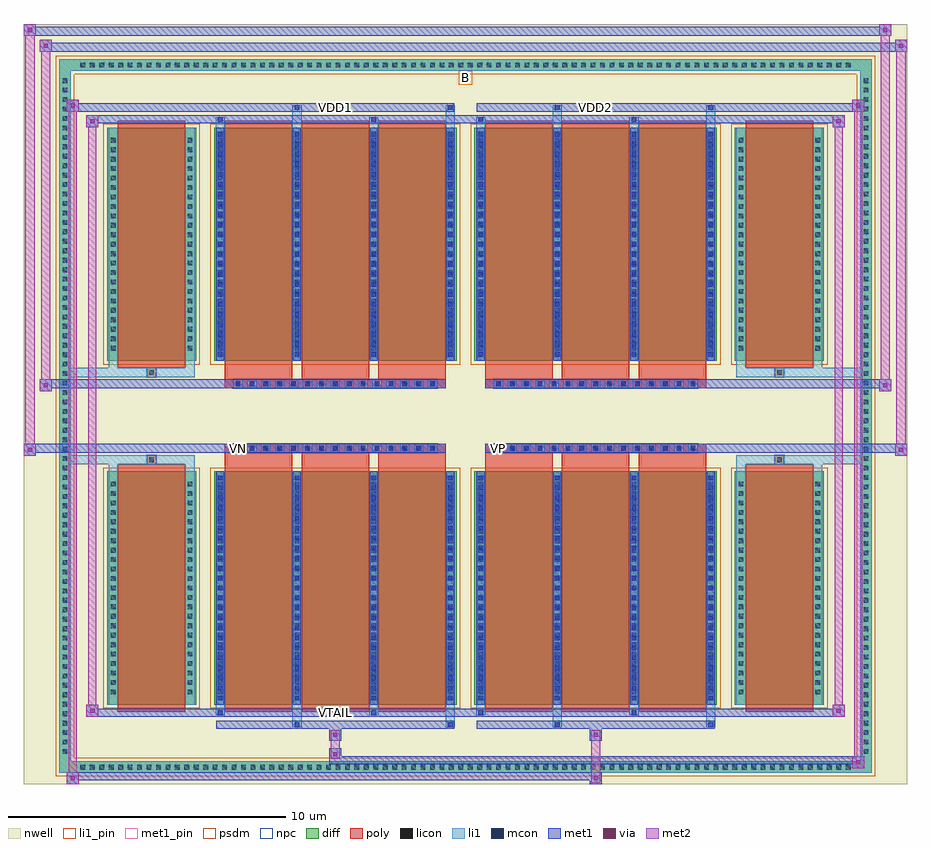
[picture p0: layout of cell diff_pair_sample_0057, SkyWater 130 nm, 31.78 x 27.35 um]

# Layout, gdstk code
import gdstk
lib = gdstk.Library(unit=1e-6, precision=5e-09)
def R(c, l, rs):  # rectangles x0, y0, x1, y1
    for r in rs: c.add(gdstk.rectangle(r[:2], r[2:], *l))
def A(c, l, x, y, w, h, nx, ny, dx, dy):  # array of equal rectangles
    R(c, l, [(x+i*dx, y+j*dy, x+i*dx+w, y+j*dy+h) for i in range(nx) for j in range(ny)])
def P(c, l, *ps):  # polygons
    for p in ps: c.add(gdstk.Polygon(p, *l))
nwell = (64, 20)
diff = (65, 20)
poly = (66, 20)
licon = (66, 44)
li1_pin = (67, 16)
li1 = (67, 20)
mcon = (67, 44)
met1_pin = (68, 16)
met1 = (68, 20)
via = (68, 44)
met2 = (69, 20)
psdm = (94, 20)
npc = (95, 20)

diff_pair_sample_0057 = lib.new_cell('diff_pair_sample_0057')
R(diff_pair_sample_0057, nwell, [(-15.89,-13.24,15.89,14.11), (-13.21,-11.43,-0.01,-0.795), (0.01,-11.43,13.21,-0.795), (-13.21,0.795,-0.01,11.43), (0.01,0.795,13.21,11.43)])
A(diff_pair_sample_0057, diff, -13.975, -12.84, 0.41, 0.41, 82, 2, 0.34, 25.27)
A(diff_pair_sample_0057, diff, -14.62, -12.275, 0.41, 0.41, 1, 72, 0, 0.34)
A(diff_pair_sample_0057, diff, 14.21, -12.275, 0.41, 0.41, 1, 72, 0, 0.34)
R(diff_pair_sample_0057, diff, [(-13.975,-12.84,13.975,-12.43), (-14.62,-12.275,-14.21,12.275), (14.21,-12.275,14.62,12.275), (-12.9,-10.385,-9.69,-1.985), (-9.05,-10.385,-0.32,-1.985), (0.32,-10.385,9.05,-1.985), (9.69,-10.385,12.9,-1.985), (-12.9,1.985,-9.69,10.385), (-9.05,1.985,-0.32,10.385), (0.32,1.985,9.05,10.385), (9.69,1.985,12.9,10.385), (-13.975,12.43,13.975,12.84)])
P(diff_pair_sample_0057, diff, [(14.62,12.84),(-14.62,12.84),(-14.62,-12.43),(-14.21,-12.43),(-14.21,12.43),(14.21,12.43),(14.21,-12.43),(-14.21,-12.43),(-14.62,-12.43),(-14.62,-12.84),(14.62,-12.84)])
A(diff_pair_sample_0057, poly, -8.66, -10.635, 2.43, 8.9, 3, 2, 2.76, 12.37)
A(diff_pair_sample_0057, poly, 0.71, -10.635, 2.43, 8.9, 3, 2, 2.76, 12.37)
A(diff_pair_sample_0057, poly, -8.66, -1.735, 2.43, 0.41, 3, 2, 2.76, 3.06)
A(diff_pair_sample_0057, poly, 0.71, -1.735, 2.43, 0.41, 3, 2, 2.76, 3.06)
A(diff_pair_sample_0057, poly, -8.35, -1.325, 0.33, 0.33, 15, 2, 0.5, 2.32)
A(diff_pair_sample_0057, poly, 1.02, -1.325, 0.33, 0.33, 15, 2, 0.5, 2.32)
R(diff_pair_sample_0057, poly, [(-12.51,-10.635,-10.08,-1.735), (10.08,-10.635,12.51,-1.735), (-11.46,-1.735,-11.13,-1.405), (-11.46,-1.735,-11.13,-1.405), (11.13,-1.735,11.46,-1.405), (11.13,-1.735,11.46,-1.405), (-8.66,-1.325,-0.71,-0.995), (0.71,-1.325,8.66,-0.995), (-8.66,0.995,-0.71,1.325), (0.71,0.995,8.66,1.325), (-11.46,1.405,-11.13,1.735), (-11.46,1.405,-11.13,1.735), (11.13,1.405,11.46,1.735), (11.13,1.405,11.46,1.735), (-12.51,1.735,-10.08,10.635), (10.08,1.735,12.51,10.635)])
A(diff_pair_sample_0057, licon, -13.855, -12.72, 0.17, 0.17, 82, 2, 0.34, 25.27)
A(diff_pair_sample_0057, licon, -14.5, -12.155, 0.17, 0.17, 1, 72, 0, 0.34)
A(diff_pair_sample_0057, licon, 14.33, -12.155, 0.17, 0.17, 1, 72, 0, 0.34)
A(diff_pair_sample_0057, licon, -12.76, -10.01, 0.17, 0.17, 1, 23, 0, 0.34)
A(diff_pair_sample_0057, licon, -10, -10.01, 0.17, 0.17, 1, 23, 0, 0.34)
A(diff_pair_sample_0057, licon, -8.91, -10.01, 0.17, 0.17, 4, 23, 2.76, 0.34)
A(diff_pair_sample_0057, licon, 0.46, -10.01, 0.17, 0.17, 4, 23, 2.76, 0.34)
A(diff_pair_sample_0057, licon, 9.83, -10.01, 0.17, 0.17, 1, 23, 0, 0.34)
A(diff_pair_sample_0057, licon, 12.59, -10.01, 0.17, 0.17, 1, 23, 0, 0.34)
A(diff_pair_sample_0057, licon, -8.27, -1.245, 0.17, 0.17, 15, 2, 0.5, 2.32)
A(diff_pair_sample_0057, licon, 1.1, -1.245, 0.17, 0.17, 15, 2, 0.5, 2.32)
A(diff_pair_sample_0057, licon, -12.76, 2.36, 0.17, 0.17, 1, 23, 0, 0.34)
A(diff_pair_sample_0057, licon, -10, 2.36, 0.17, 0.17, 1, 23, 0, 0.34)
A(diff_pair_sample_0057, licon, -8.91, 2.36, 0.17, 0.17, 4, 23, 2.76, 0.34)
A(diff_pair_sample_0057, licon, 0.46, 2.36, 0.17, 0.17, 4, 23, 2.76, 0.34)
A(diff_pair_sample_0057, licon, 9.83, 2.36, 0.17, 0.17, 1, 23, 0, 0.34)
A(diff_pair_sample_0057, licon, 12.59, 2.36, 0.17, 0.17, 1, 23, 0, 0.34)
R(diff_pair_sample_0057, licon, [(-11.38,-1.655,-11.21,-1.485), (11.21,-1.655,11.38,-1.485), (-11.38,1.485,-11.21,1.655), (11.21,1.485,11.38,1.655)])
R(diff_pair_sample_0057, li1_pin, [(-0.25,11.93,0.25,12.43)])
A(diff_pair_sample_0057, li1, -13.935, -12.8, 0.33, 0.33, 82, 2, 0.34, 25.27)
A(diff_pair_sample_0057, li1, -14.58, -12.235, 0.33, 0.33, 1, 72, 0, 0.34)
A(diff_pair_sample_0057, li1, 14.25, -12.235, 0.33, 0.33, 1, 72, 0, 0.34)
A(diff_pair_sample_0057, li1, -8.99, -10.385, 0.33, 8.4, 4, 2, 2.76, 12.37)
A(diff_pair_sample_0057, li1, 0.38, -10.385, 0.33, 8.4, 4, 2, 2.76, 12.37)
A(diff_pair_sample_0057, li1, -8.91, -10.23, 0.17, 0.17, 4, 23, 2.76, 0.36)
A(diff_pair_sample_0057, li1, -8.91, -10.23, 0.17, 8.09, 4, 2, 2.76, 12.37)
A(diff_pair_sample_0057, li1, 0.46, -10.23, 0.17, 0.17, 4, 23, 2.76, 0.36)
A(diff_pair_sample_0057, li1, 0.46, -10.23, 0.17, 8.09, 4, 2, 2.76, 12.37)
A(diff_pair_sample_0057, li1, -12.84, -10.09, 0.33, 0.33, 1, 23, 0, 0.34)
A(diff_pair_sample_0057, li1, -10.08, -10.09, 0.33, 0.33, 1, 23, 0, 0.34)
A(diff_pair_sample_0057, li1, -8.99, -10.09, 0.33, 0.33, 4, 23, 2.76, 0.34)
A(diff_pair_sample_0057, li1, 0.38, -10.09, 0.33, 0.33, 4, 23, 2.76, 0.34)
A(diff_pair_sample_0057, li1, 9.75, -10.09, 0.33, 0.33, 1, 23, 0, 0.34)
A(diff_pair_sample_0057, li1, 12.51, -10.09, 0.33, 0.33, 1, 23, 0, 0.34)
A(diff_pair_sample_0057, li1, -8.35, -1.325, 0.33, 0.33, 15, 2, 0.5, 2.32)
A(diff_pair_sample_0057, li1, 1.02, -1.325, 0.33, 0.33, 15, 2, 0.5, 2.32)
A(diff_pair_sample_0057, li1, -8.91, 2.14, 0.17, 0.17, 4, 23, 2.76, 0.36)
A(diff_pair_sample_0057, li1, 0.46, 2.14, 0.17, 0.17, 4, 23, 2.76, 0.36)
A(diff_pair_sample_0057, li1, -12.84, 2.28, 0.33, 0.33, 1, 23, 0, 0.34)
A(diff_pair_sample_0057, li1, -10.08, 2.28, 0.33, 0.33, 1, 23, 0, 0.34)
A(diff_pair_sample_0057, li1, -8.99, 2.28, 0.33, 0.33, 4, 23, 2.76, 0.34)
A(diff_pair_sample_0057, li1, 0.38, 2.28, 0.33, 0.33, 4, 23, 2.76, 0.34)
A(diff_pair_sample_0057, li1, 9.75, 2.28, 0.33, 0.33, 1, 23, 0, 0.34)
A(diff_pair_sample_0057, li1, 12.51, 2.28, 0.33, 0.33, 1, 23, 0, 0.34)
R(diff_pair_sample_0057, li1, [(-14.62,-12.84,-14.21,-12.43), (-14.62,-12.84,-14.21,-12.43), (-14.21,-12.84,14.21,-12.43), (14.21,-12.84,14.62,-12.43), (14.21,-12.84,14.62,-12.43), (-14.62,-12.43,-14.21,12.43), (14.21,-12.43,14.62,12.43), (-6.23,-11.19,-5.9,-10.385), (-6.15,-11.19,-5.98,-11.02), (-0.71,-11.19,-0.38,-10.385), (-0.63,-11.19,-0.46,-11.02), (3.14,-11.19,3.47,-10.385), (3.22,-11.19,3.39,-11.02), (8.66,-11.19,8.99,-10.385), (8.74,-11.19,8.91,-11.02), (-8.99,-10.76,-8.66,-10.385), (-8.91,-10.76,-8.74,-10.59), (-3.47,-10.76,-3.14,-10.385), (-3.39,-10.76,-3.22,-10.59), (0.38,-10.76,0.71,-10.385), (0.46,-10.76,0.63,-10.59), (5.9,-10.76,6.23,-10.385), (5.98,-10.76,6.15,-10.59), (-12.84,-10.385,-12.51,-1.985), (-10.08,-10.385,-9.75,-1.985), (9.75,-10.385,10.08,-1.985), (12.51,-10.385,12.84,-1.985), (-12.84,-1.985,-12.51,-1.405), (-10.08,-1.985,-9.75,-1.405), (9.75,-1.985,10.08,-1.405), (12.51,-1.985,12.84,-1.405), (-14.62,-1.735,-11.46,-1.405), (-12.84,-1.735,-11.46,-1.405), (-11.46,-1.735,-11.13,-1.405), (-11.13,-1.735,-9.75,-1.405), (9.75,-1.735,11.13,-1.405), (11.13,-1.735,11.46,-1.405), (11.13,-1.735,14.62,-1.405), (11.46,-1.735,12.84,-1.405), (-14.62,1.405,-11.46,1.735), (-12.84,1.405,-11.46,1.735), (-12.84,1.405,-12.51,1.985), (-11.46,1.405,-11.13,1.735), (-11.13,1.405,-9.75,1.735), (-10.08,1.405,-9.75,1.985), (9.75,1.405,11.13,1.735), (9.75,1.405,10.08,1.985), (11.13,1.405,11.46,1.735), (11.13,1.405,14.62,1.735), (11.46,1.405,12.84,1.735), (12.51,1.405,12.84,1.985), (-12.84,1.985,-12.51,10.385), (-10.08,1.985,-9.75,10.385), (9.75,1.985,10.08,10.385), (12.51,1.985,12.84,10.385), (-8.99,10.385,-8.66,10.76), (-6.23,10.385,-5.9,11.19), (-3.47,10.385,-3.14,10.76), (-0.71,10.385,-0.38,11.19), (0.38,10.385,0.71,10.76), (3.14,10.385,3.47,11.19), (5.9,10.385,6.23,10.76), (8.66,10.385,8.99,11.19), (-8.91,10.59,-8.74,10.76), (-3.39,10.59,-3.22,10.76), (0.46,10.59,0.63,10.76), (5.98,10.59,6.15,10.76), (-6.15,11.02,-5.98,11.19), (-0.63,11.02,-0.46,11.19), (3.22,11.02,3.39,11.19), (8.74,11.02,8.91,11.19), (-14.62,12.43,-14.21,12.84), (-14.62,12.43,-14.21,12.84), (-14.21,12.43,14.21,12.84), (14.21,12.43,14.62,12.84), (14.21,12.43,14.62,12.84)])
A(diff_pair_sample_0057, mcon, -8.91, -10.23, 0.17, 0.17, 4, 23, 2.76, 0.36)
A(diff_pair_sample_0057, mcon, 0.46, -10.23, 0.17, 0.17, 4, 23, 2.76, 0.36)
A(diff_pair_sample_0057, mcon, -8.27, -1.245, 0.17, 0.17, 15, 2, 0.5, 2.32)
A(diff_pair_sample_0057, mcon, 1.1, -1.245, 0.17, 0.17, 15, 2, 0.5, 2.32)
A(diff_pair_sample_0057, mcon, -8.91, 2.14, 0.17, 0.17, 4, 23, 2.76, 0.36)
A(diff_pair_sample_0057, mcon, 0.46, 2.14, 0.17, 0.17, 4, 23, 2.76, 0.36)
R(diff_pair_sample_0057, mcon, [(-6.15,-11.19,-5.98,-11.02), (-0.63,-11.19,-0.46,-11.02), (3.22,-11.19,3.39,-11.02), (8.74,-11.19,8.91,-11.02), (-8.91,-10.76,-8.74,-10.59), (-3.39,-10.76,-3.22,-10.59), (0.46,-10.76,0.63,-10.59), (5.98,-10.76,6.15,-10.59), (-8.91,10.59,-8.74,10.76), (-3.39,10.59,-3.22,10.76), (0.46,10.59,0.63,10.76), (5.98,10.59,6.15,10.76), (-6.15,11.02,-5.98,11.19), (-0.63,11.02,-0.46,11.19), (3.22,11.02,3.39,11.19), (8.74,11.02,8.91,11.19)])
R(diff_pair_sample_0057, met1_pin, [(-4.82,-10.8,-4.55,-10.53), (-8.32,-1.285,-8.05,-1.015), (1.05,-1.285,1.32,-1.015), (-4.82,10.98,-4.55,11.25), (4.55,10.98,4.82,11.25)])
A(diff_pair_sample_0057, met1, -8.97, -10.385, 0.29, 8.4, 4, 2, 2.76, 12.37)
A(diff_pair_sample_0057, met1, 0.4, -10.385, 0.29, 8.4, 4, 2, 2.76, 12.37)
A(diff_pair_sample_0057, met1, -8.97, -10.29, 0.29, 0.29, 4, 23, 2.76, 0.36)
A(diff_pair_sample_0057, met1, 0.4, -10.29, 0.29, 0.29, 4, 23, 2.76, 0.36)
A(diff_pair_sample_0057, met1, -8.33, -1.305, 0.29, 0.29, 15, 2, 0.5, 2.32)
A(diff_pair_sample_0057, met1, 1.04, -1.305, 0.29, 0.29, 15, 2, 0.5, 2.32)
A(diff_pair_sample_0057, met1, -8.97, 2.08, 0.29, 0.29, 4, 23, 2.76, 0.36)
A(diff_pair_sample_0057, met1, 0.4, 2.08, 0.29, 0.29, 4, 23, 2.76, 0.36)
R(diff_pair_sample_0057, met1, [(-14.35,-13.24,-13.92,-12.81), (4.47,-13.24,4.9,-12.81), (-14.35,-13.1,4.9,-12.81), (13.92,-12.67,14.35,-12.24), (-4.9,-12.53,14.35,-12.24), (-4.9,-12.39,-4.47,-11.96), (-4.9,-11.68,-4.47,-11.25), (4.47,-11.68,4.9,-11.25), (-8.97,-11.25,-0.4,-10.96), (-6.21,-11.25,-5.92,-10.96), (-0.69,-11.25,-0.4,-10.96), (0.4,-11.25,8.97,-10.96), (3.16,-11.25,3.45,-10.96), (8.68,-11.25,8.97,-10.96), (-13.64,-10.82,-13.21,-10.39), (-13.64,-10.82,-8.97,-10.53), (-8.97,-10.82,-8.68,-10.53), (-8.97,-10.82,-0.4,-10.53), (-3.45,-10.82,-3.16,-10.53), (-0.4,-10.82,0.4,-10.53), (0.4,-10.82,0.69,-10.53), (0.4,-10.82,8.97,-10.53), (5.92,-10.82,6.21,-10.53), (8.97,-10.82,13.64,-10.53), (13.21,-10.82,13.64,-10.39), (-15.89,-1.425,-15.46,-0.995), (15.46,-1.425,15.89,-0.995), (-15.89,-1.325,-0.71,-0.995), (-8.66,-1.325,-0.71,-0.995), (0.71,-1.325,8.66,-0.995), (0.71,-1.325,15.89,-0.995), (-15.32,0.895,-14.89,1.325), (14.89,0.895,15.32,1.325), (-15.32,0.995,-8.66,1.325), (-8.66,0.995,-0.71,1.325), (0.71,0.995,8.66,1.325), (8.66,0.995,15.32,1.325), (-13.64,10.39,-13.21,10.82), (13.21,10.39,13.64,10.82), (-13.64,10.53,-8.97,10.82), (-8.97,10.53,-8.68,10.82), (-8.97,10.53,-0.4,10.82), (-3.45,10.53,-3.16,10.82), (-0.4,10.53,0.4,10.82), (0.4,10.53,0.69,10.82), (0.4,10.53,8.97,10.82), (5.92,10.53,6.21,10.82), (8.97,10.53,13.64,10.82), (-14.35,10.96,-13.92,11.39), (-14.35,10.96,-8.97,11.25), (-8.97,10.96,-0.4,11.25), (-6.21,10.96,-5.92,11.25), (-0.69,10.96,-0.4,11.25), (0.4,10.96,8.97,11.25), (3.16,10.96,3.45,11.25), (8.68,10.96,8.97,11.25), (8.97,10.96,14.35,11.25), (13.92,10.96,14.35,11.39), (-15.32,13.11,-14.89,13.54), (-15.32,13.11,-13.21,13.44), (-13.21,13.11,13.21,13.44), (13.21,13.11,15.89,13.44), (15.46,13.11,15.89,13.54), (-15.89,13.68,-15.46,14.11), (-15.89,13.68,-13.21,14.01), (-13.21,13.68,13.21,14.01), (13.21,13.68,15.32,14.01), (14.89,13.68,15.32,14.11)])
R(diff_pair_sample_0057, via, [(-14.21,-13.1,-14.06,-12.95), (4.61,-13.1,4.76,-12.95), (14.06,-12.53,14.21,-12.38), (-4.76,-12.25,-4.61,-12.1), (-4.76,-11.54,-4.61,-11.39), (4.61,-11.54,4.76,-11.39), (-13.5,-10.68,-13.35,-10.53), (13.35,-10.68,13.5,-10.53), (-15.75,-1.285,-15.6,-1.135), (15.6,-1.285,15.75,-1.135), (-15.18,1.035,-15.03,1.185), (15.03,1.035,15.18,1.185), (-13.5,10.53,-13.35,10.68), (13.35,10.53,13.5,10.68), (-14.21,11.1,-14.06,11.25), (14.06,11.1,14.21,11.25), (-15.18,13.25,-15.03,13.4), (15.6,13.25,15.75,13.4), (-15.75,13.82,-15.6,13.97), (15.03,13.82,15.18,13.97)])
R(diff_pair_sample_0057, met2, [(-14.35,-13.24,-13.92,-12.81), (-14.28,-13.24,-13.99,11.39), (-13.99,-13.24,-13.92,-12.81), (-14.3,-13.19,-13.97,-12.86), (4.52,-13.19,4.85,-12.86), (4.52,-12.86,4.85,-11.63), (13.92,-12.67,14.35,-12.24), (13.99,-12.67,14.28,11.39), (14.28,-12.67,14.35,-12.24), (13.97,-12.62,14.3,-12.29), (-4.85,-12.34,-4.52,-12.01), (-4.85,-12.01,-4.52,-11.63), (-4.85,-11.63,-4.52,-11.3), (4.52,-11.63,4.85,-11.3), (-13.64,-10.82,-13.21,-10.39), (-13.57,-10.82,-13.28,10.82), (-13.28,-10.82,-13.21,-10.39), (13.21,-10.82,13.64,-10.39), (13.28,-10.82,13.57,10.82), (13.57,-10.82,13.64,-10.39), (-13.59,-10.77,-13.26,-10.44), (13.26,-10.77,13.59,-10.44), (-15.89,-1.425,-15.46,-0.995), (-15.84,-1.425,-15.51,14.11), (-15.51,-1.425,-15.46,-0.995), (15.46,-1.425,15.89,-0.995), (15.51,-1.425,15.84,13.54), (15.84,-1.425,15.89,-0.995), (-15.84,-1.375,-15.51,-1.045), (15.51,-1.375,15.84,-1.045), (-15.32,0.895,-14.89,1.325), (-15.27,0.895,-14.94,13.54), (-14.94,0.895,-14.89,1.325), (14.89,0.895,15.32,1.325), (14.94,0.895,15.27,14.11), (15.27,0.895,15.32,1.325), (-15.27,0.945,-14.94,1.275), (14.94,0.945,15.27,1.275), (-13.64,10.39,-13.21,10.82), (-13.28,10.39,-13.21,10.82), (13.21,10.39,13.64,10.82), (13.57,10.39,13.64,10.82), (-13.59,10.44,-13.26,10.77), (13.26,10.44,13.59,10.77), (-14.35,10.96,-13.92,11.39), (-13.99,10.96,-13.92,11.39), (13.92,10.96,14.35,11.39), (14.28,10.96,14.35,11.39), (-14.3,11.01,-13.97,11.34), (13.97,11.01,14.3,11.34), (-15.32,13.11,-14.89,13.54), (-14.94,13.11,-14.89,13.54), (15.46,13.11,15.89,13.54), (15.84,13.11,15.89,13.54), (-15.27,13.16,-14.94,13.49), (15.51,13.16,15.84,13.49), (-15.89,13.68,-15.46,14.11), (-15.51,13.68,-15.46,14.11), (14.89,13.68,15.32,14.11), (15.27,13.68,15.32,14.11), (-15.84,13.73,-15.51,14.06), (14.94,13.73,15.27,14.06)])
R(diff_pair_sample_0057, psdm, [(-13.03,-10.515,-9.56,-1.855), (-9.18,-10.515,-0.19,-1.855), (0.19,-10.515,9.18,-1.855), (9.56,-10.515,13.03,-1.855), (-13.03,1.855,-9.56,10.515), (-9.18,1.855,-0.19,10.515), (0.19,1.855,9.18,10.515), (9.56,1.855,13.03,10.515)])
P(diff_pair_sample_0057, psdm, [(14.75,12.97),(-14.75,12.97),(-14.75,-12.3),(-14.08,-12.3),(-14.08,12.3),(14.08,12.3),(14.08,-12.3),(-14.08,-12.3),(-14.75,-12.3),(-14.75,-12.97),(14.75,-12.97)])
A(diff_pair_sample_0057, npc, -8.37, -1.345, 0.37, 0.37, 15, 2, 0.5, 2.32)
A(diff_pair_sample_0057, npc, 1, -1.345, 0.37, 0.37, 15, 2, 0.5, 2.32)
R(diff_pair_sample_0057, npc, [(-11.48,-1.755,-11.11,-1.385), (11.11,-1.755,11.48,-1.385), (-8.37,-1.345,-7.5,-0.975), (-8.37,-1.345,-7.5,-0.975), (-7.87,-1.345,-7,-0.975), (-7.87,-1.345,-7,-0.975), (-7.37,-1.345,-6.5,-0.975), (-7.37,-1.345,-6.5,-0.975), (-6.87,-1.345,-6,-0.975), (-6.87,-1.345,-6,-0.975), (-6.37,-1.345,-5.5,-0.975), (-6.37,-1.345,-5.5,-0.975), (-5.87,-1.345,-5,-0.975), (-5.87,-1.345,-5,-0.975), (-5.37,-1.345,-4.5,-0.975), (-5.37,-1.345,-4.5,-0.975), (-4.87,-1.345,-4,-0.975), (-4.87,-1.345,-4,-0.975), (-4.37,-1.345,-3.5,-0.975), (-4.37,-1.345,-3.5,-0.975), (-3.87,-1.345,-3,-0.975), (-3.87,-1.345,-3,-0.975), (-3.37,-1.345,-2.5,-0.975), (-3.37,-1.345,-2.5,-0.975), (-2.87,-1.345,-2,-0.975), (-2.87,-1.345,-2,-0.975), (-2.37,-1.345,-1.5,-0.975), (-2.37,-1.345,-1.5,-0.975), (-1.87,-1.345,-1,-0.975), (-1.87,-1.345,-1,-0.975), (1,-1.345,1.87,-0.975), (1,-1.345,1.87,-0.975), (1.5,-1.345,2.37,-0.975), (1.5,-1.345,2.37,-0.975), (2,-1.345,2.87,-0.975), (2,-1.345,2.87,-0.975), (2.5,-1.345,3.37,-0.975), (2.5,-1.345,3.37,-0.975), (3,-1.345,3.87,-0.975), (3,-1.345,3.87,-0.975), (3.5,-1.345,4.37,-0.975), (3.5,-1.345,4.37,-0.975), (4,-1.345,4.87,-0.975), (4,-1.345,4.87,-0.975), (4.5,-1.345,5.37,-0.975), (4.5,-1.345,5.37,-0.975), (5,-1.345,5.87,-0.975), (5,-1.345,5.87,-0.975), (5.5,-1.345,6.37,-0.975), (5.5,-1.345,6.37,-0.975), (6,-1.345,6.87,-0.975), (6,-1.345,6.87,-0.975), (6.5,-1.345,7.37,-0.975), (6.5,-1.345,7.37,-0.975), (7,-1.345,7.87,-0.975), (7,-1.345,7.87,-0.975), (7.5,-1.345,8.37,-0.975), (7.5,-1.345,8.37,-0.975), (-8.37,0.975,-7.5,1.345), (-8.37,0.975,-7.5,1.345), (-7.87,0.975,-7,1.345), (-7.87,0.975,-7,1.345), (-7.37,0.975,-6.5,1.345), (-7.37,0.975,-6.5,1.345), (-6.87,0.975,-6,1.345), (-6.87,0.975,-6,1.345), (-6.37,0.975,-5.5,1.345), (-6.37,0.975,-5.5,1.345), (-5.87,0.975,-5,1.345), (-5.87,0.975,-5,1.345), (-5.37,0.975,-4.5,1.345), (-5.37,0.975,-4.5,1.345), (-4.87,0.975,-4,1.345), (-4.87,0.975,-4,1.345), (-4.37,0.975,-3.5,1.345), (-4.37,0.975,-3.5,1.345), (-3.87,0.975,-3,1.345), (-3.87,0.975,-3,1.345), (-3.37,0.975,-2.5,1.345), (-3.37,0.975,-2.5,1.345), (-2.87,0.975,-2,1.345), (-2.87,0.975,-2,1.345), (-2.37,0.975,-1.5,1.345), (-2.37,0.975,-1.5,1.345), (-1.87,0.975,-1,1.345), (-1.87,0.975,-1,1.345), (1,0.975,1.87,1.345), (1,0.975,1.87,1.345), (1.5,0.975,2.37,1.345), (1.5,0.975,2.37,1.345), (2,0.975,2.87,1.345), (2,0.975,2.87,1.345), (2.5,0.975,3.37,1.345), (2.5,0.975,3.37,1.345), (3,0.975,3.87,1.345), (3,0.975,3.87,1.345), (3.5,0.975,4.37,1.345), (3.5,0.975,4.37,1.345), (4,0.975,4.87,1.345), (4,0.975,4.87,1.345), (4.5,0.975,5.37,1.345), (4.5,0.975,5.37,1.345), (5,0.975,5.87,1.345), (5,0.975,5.87,1.345), (5.5,0.975,6.37,1.345), (5.5,0.975,6.37,1.345), (6,0.975,6.87,1.345), (6,0.975,6.87,1.345), (6.5,0.975,7.37,1.345), (6.5,0.975,7.37,1.345), (7,0.975,7.87,1.345), (7,0.975,7.87,1.345), (7.5,0.975,8.37,1.345), (7.5,0.975,8.37,1.345), (-11.48,1.385,-11.11,1.755), (11.11,1.385,11.48,1.755)])
diff_pair_sample_0057.add(gdstk.Label('VTAIL', (-4.685,-10.665), layer=68, texttype=5))
diff_pair_sample_0057.add(gdstk.Label('VN', (-8.185,-1.15), layer=68, texttype=5))
diff_pair_sample_0057.add(gdstk.Label('VP', (1.185,-1.15), layer=68, texttype=5))
diff_pair_sample_0057.add(gdstk.Label('B', (0,12.18), layer=67, texttype=5))
diff_pair_sample_0057.add(gdstk.Label('VDD2', (4.685,11.115), layer=68, texttype=5))
diff_pair_sample_0057.add(gdstk.Label('VDD1', (-4.685,11.115), layer=68, texttype=5))

lib.write_gds('diff_pair_sample_0057.gds')
